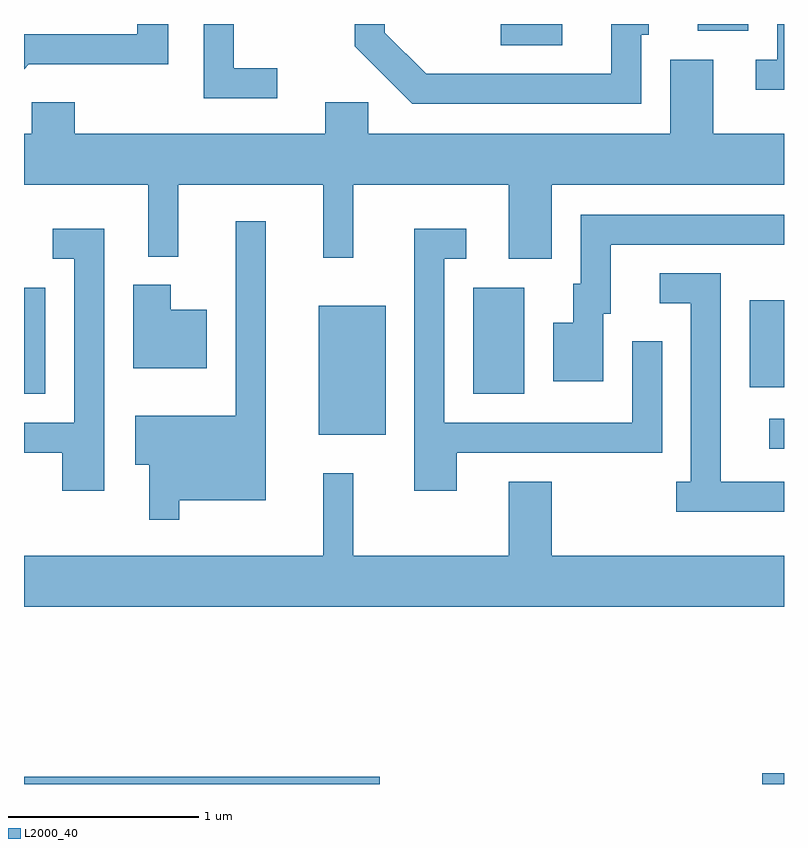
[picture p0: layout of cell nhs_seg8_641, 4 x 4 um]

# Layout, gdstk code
import gdstk
lib = gdstk.Library(unit=1e-6, precision=1e-09)
def R(c, l, rs):  # rectangles x0, y0, x1, y1
    for r in rs: c.add(gdstk.rectangle(r[:2], r[2:], *l))
def P(c, l, *ps):  # polygons
    for p in ps: c.add(gdstk.Polygon(p, *l))
L2000_40 = (2000, 40)

nhs_seg8_641 = lib.new_cell('nhs_seg8_641')
R(nhs_seg8_641, L2000_40, [(203.611,1864.342,205.484,1864.379), (207.496,1864.342,207.611,1864.399), (207.533,1866.106,207.611,1866.264), (205.161,1866.181,205.514,1866.859), (203.611,1866.396,203.724,1866.954), (205.976,1866.396,206.244,1866.954), (207.431,1866.431,207.611,1866.889), (206.121,1868.231,206.443,1868.342), (207.156,1868.306,207.424,1868.342)])
P(nhs_seg8_641, L2000_40, [(206.859,1868.286),(206.899,1868.286),(206.899,1868.342),(206.701,1868.342),(206.701,1868.079),(205.727,1868.079),(205.509,1868.297),(205.509,1868.342),(205.351,1868.342),(205.351,1868.224),(205.654,1867.921),(206.859,1867.921)],
  [(203.637,1868.131),(204.369,1868.131),(204.369,1868.342),(204.206,1868.342),(204.206,1868.289),(203.611,1868.289),(203.611,1868.105)],
  [(204.943,1868.109),(204.714,1868.109),(204.714,1868.342),(204.556,1868.342),(204.556,1867.951),(204.943,1867.951)],
  [(207.611,1868.342),(207.576,1868.342),(207.576,1868.154),(207.463,1868.154),(207.463,1867.996),(207.611,1867.996)],
  [(206.389,1867.496),(207.611,1867.496),(207.611,1867.764),(207.239,1867.764),(207.239,1868.154),(207.011,1868.154),(207.011,1867.764),(205.424,1867.764),(205.424,1867.929),(205.196,1867.929),(205.196,1867.764),(203.879,1867.764),(203.879,1867.929),(203.651,1867.929),(203.651,1867.764),(203.611,1867.764),(203.611,1867.496),(204.266,1867.496),(204.266,1867.118),(204.424,1867.118),(204.424,1867.496),(205.186,1867.496),(205.186,1867.113),(205.344,1867.113),(205.344,1867.496),(206.161,1867.496),(206.161,1867.106),(206.389,1867.106)],
  [(206.659,1866.816),(206.699,1866.816),(206.699,1867.181),(207.611,1867.181),(207.611,1867.339),(206.541,1867.339),(206.541,1866.974),(206.501,1866.974),(206.501,1866.769),(206.396,1866.769),(206.396,1866.461),(206.659,1866.461)],
  [(204.429,1865.836),(204.884,1865.836),(204.884,1867.303),(204.726,1867.303),(204.726,1866.279),(204.196,1866.279),(204.196,1866.021),(204.271,1866.021),(204.271,1865.733),(204.429,1865.733)],
  [(205.889,1866.086),(206.969,1866.086),(206.969,1866.673),(206.811,1866.673),(206.811,1866.244),(205.824,1866.244),(205.824,1867.106),(205.938,1867.106),(205.938,1867.264),(205.666,1867.264),(205.666,1865.886),(205.889,1865.886)],
  [(204.034,1867.264),(203.763,1867.264),(203.763,1867.106),(203.876,1867.106),(203.876,1866.244),(203.611,1866.244),(203.611,1866.086),(203.811,1866.086),(203.811,1865.886),(204.034,1865.886)],
  [(207.611,1865.934),(207.279,1865.934),(207.279,1867.029),(206.958,1867.029),(206.958,1866.871),(207.121,1866.871),(207.121,1865.934),(207.043,1865.934),(207.043,1865.776),(207.611,1865.776)],
  [(204.574,1866.839),(204.384,1866.839),(204.384,1866.969),(204.186,1866.969),(204.186,1866.531),(204.574,1866.531)],
  [(207.611,1865.544),(206.389,1865.544),(206.389,1865.934),(206.161,1865.934),(206.161,1865.544),(205.344,1865.544),(205.344,1865.978),(205.186,1865.978),(205.186,1865.544),(203.611,1865.544),(203.611,1865.276),(207.611,1865.276)])

lib.write_gds('nhs_seg8_641.gds')
